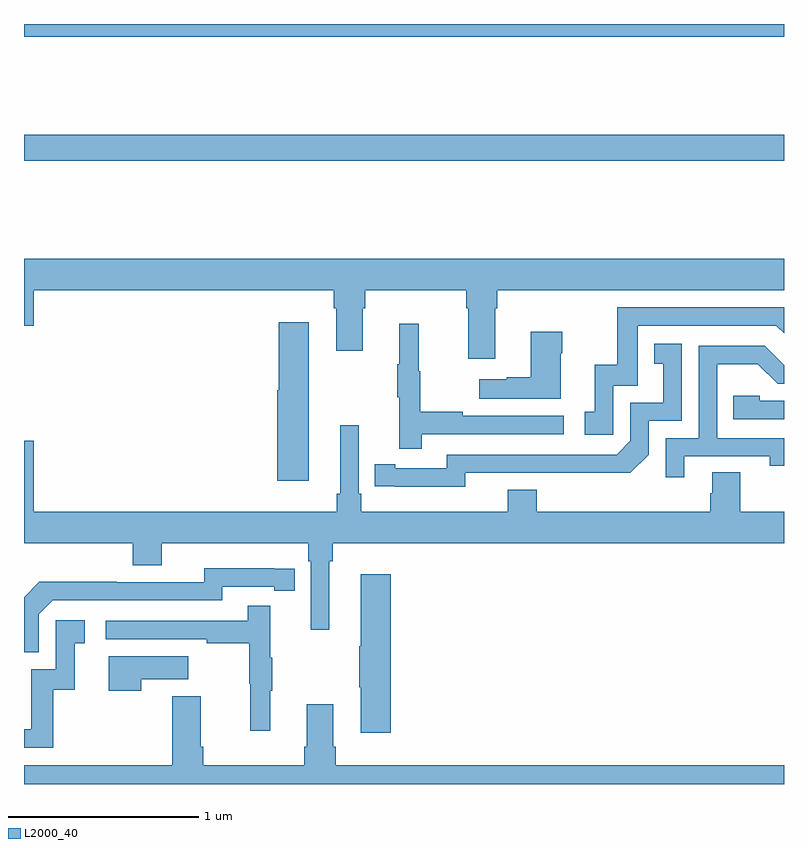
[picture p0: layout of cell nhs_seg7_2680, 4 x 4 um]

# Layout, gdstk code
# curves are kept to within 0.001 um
import gdstk
lib = gdstk.Library(unit=1e-6, precision=1e-09)
def R(c, l, rs):  # rectangles x0, y0, x1, y1
    for r in rs: c.add(gdstk.rectangle(r[:2], r[2:], *l))
def P(c, l, *ps):  # polygons
    for p in ps: c.add(gdstk.Polygon(p, *l))
L2000_40 = (2000, 40)

nhs_seg7_2680 = lib.new_cell('nhs_seg7_2680')
R(nhs_seg7_2680, L2000_40, [(285,1017.28,289,1017.416), (285,1017.932,289,1018)])
P(nhs_seg7_2680, L2000_40, [(287.479,1016.504),(287.492,1016.504),(287.492,1016.6),(289,1016.6),(289,1016.764),(285,1016.764),(285,1016.412),(285.052,1016.412),(285.052,1016.6),(286.631,1016.6),(286.631,1016.504),(286.643,1016.504),(286.643,1016.28),(286.783,1016.28),(286.783,1016.504),(286.796,1016.504),(286.796,1016.6),(287.327,1016.6),(287.327,1016.504),(287.339,1016.504),(287.339,1016.238),(287.479,1016.238)],
  [(288.102,1016.097),(288.231,1016.097),(288.231,1016.412),(288.96,1016.412),(289,1016.372),(289,1016.508),(288.123,1016.508),(288.123,1016.206),(288.005,1016.206),(288.005,1015.959),(287.952,1015.959),(287.952,1015.839),(288.102,1015.839)],
  [(286.498,1016.431),(286.34,1016.431),(286.34,1016.073),(286.334,1016.073),(286.334,1015.596),(286.498,1015.596)],
  [(287.093,1015.842),(287.842,1015.842),(287.842,1015.938),(287.309,1015.938),(287.309,1015.958),(287.086,1015.958),(287.086,1016.172),(287.078,1016.172),(287.078,1016.422),(286.976,1016.422),(286.976,1016.209),(286.965,1016.209),(286.965,1016.035),(286.976,1016.035),(286.976,1015.764),(287.093,1015.764)],
  [(287.824,1016.267),(287.832,1016.267),(287.832,1016.38),(287.666,1016.38),(287.666,1016.141),(287.54,1016.141),(287.54,1016.131),(287.397,1016.131),(287.397,1016.027),(287.824,1016.027)],
  [(287.322,1015.638),(288.19,1015.637),(288.288,1015.734),(288.288,1015.911),(288.462,1015.911),(288.462,1016.317),(288.316,1016.317),(288.316,1016.211),(288.365,1016.211),(288.365,1016.007),(288.192,1016.007),(288.192,1015.806),(288.12,1015.734),(287.226,1015.734),(287.226,1015.662),(286.954,1015.662),(286.954,1015.682),(286.846,1015.682),(286.846,1015.566),(287.322,1015.565)],
  [(288.475,1015.725),(288.926,1015.725),(288.926,1015.674),(289,1015.674),(289,1015.821),(288.648,1015.821),(288.648,1016.21),(288.862,1016.21),(288.966,1016.106),(289,1016.106),(289,1016.205),(288.898,1016.307),(288.552,1016.307),(288.552,1015.821),(288.378,1015.821),(288.378,1015.614),(288.475,1015.614)],
  [(289,1016.016),(288.873,1016.016),(288.873,1016.043),(288.733,1016.043),(288.733,1015.92),(289,1015.92)],
  [(286.606,1015.172),(286.625,1015.172),(286.625,1015.268),(289,1015.268),(289,1015.432),(288.771,1015.432),(288.771,1015.64),(288.623,1015.64),(288.623,1015.53),(288.611,1015.53),(288.611,1015.432),(287.699,1015.432),(287.699,1015.549),(287.546,1015.549),(287.546,1015.432),(286.775,1015.432),(286.775,1015.528),(286.761,1015.528),(286.761,1015.888),(286.664,1015.888),(286.664,1015.528),(286.645,1015.528),(286.645,1015.432),(285.052,1015.432),(285.052,1015.807),(285,1015.807),(285,1015.268),(285.572,1015.268),(285.572,1015.151),(285.724,1015.151),(285.724,1015.268),(286.496,1015.268),(286.496,1015.172),(286.509,1015.172),(286.509,1014.813),(286.606,1014.813)],
  [(285.078,1014.894),(285.15,1014.966),(286.044,1014.966),(286.044,1015.038),(286.316,1015.038),(286.316,1015.018),(286.424,1015.018),(286.424,1015.134),(285.948,1015.135),(285.948,1015.062),(285.488,1015.062),(285.488,1015.064),(285.08,1015.064),(285,1014.984),(285,1014.693),(285.078,1014.693)],
  [(286.931,1015.105),(286.772,1015.105),(286.772,1014.725),(286.765,1014.725),(286.765,1014.508),(286.772,1014.508),(286.772,1014.27),(286.931,1014.27)],
  [(286.295,1014.491),(286.306,1014.491),(286.306,1014.665),(286.295,1014.665),(286.295,1014.937),(286.177,1014.937),(286.177,1014.858),(285.429,1014.858),(285.429,1014.762),(285.961,1014.762),(285.961,1014.742),(286.185,1014.742),(286.185,1014.528),(286.192,1014.528),(286.192,1014.279),(286.295,1014.279)],
  [(285.155,1014.495),(285.266,1014.495),(285.266,1014.741),(285.319,1014.741),(285.319,1014.862),(285.168,1014.862),(285.168,1014.603),(285.039,1014.603),(285.039,1014.288),(285,1014.288),(285,1014.192),(285.155,1014.192)],
  [(285.617,1014.551),(285.865,1014.551),(285.865,1014.673),(285.446,1014.673),(285.446,1014.492),(285.617,1014.492)],
  [(289,1014.1),(286.64,1014.1),(286.64,1014.196),(286.627,1014.196),(286.627,1014.421),(286.487,1014.421),(286.487,1014.196),(286.475,1014.196),(286.475,1014.1),(285.944,1014.1),(285.944,1014.196),(285.931,1014.196),(285.931,1014.463),(285.779,1014.463),(285.779,1014.1),(285,1014.1),(285,1014),(289,1014)])

lib.write_gds('nhs_seg7_2680.gds')
